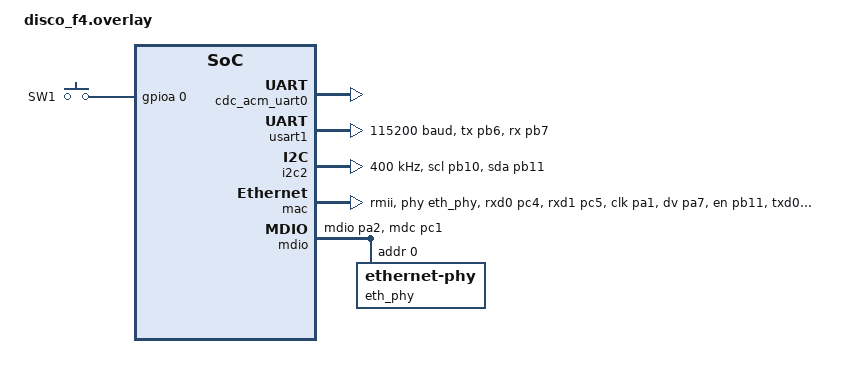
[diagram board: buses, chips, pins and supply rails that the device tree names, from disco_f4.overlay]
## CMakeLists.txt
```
# SPDX-License-Identifier: Apache-2.0

cmake_minimum_required(VERSION 3.20.0)

find_package(Zephyr REQUIRED HINTS $ENV{ZEPHYR_BASE})
find_package(Python REQUIRED COMPONENTS Interpreter)

project(http_server)

option(INCLUDE_HTML_CONTENT "Include the HTML content" ON)

target_sources(app PRIVATE src/main.c)

set(gen_dir ${ZEPHYR_BINARY_DIR}/include/generated/)

target_sources_ifdef(CONFIG_NET_SAMPLE_WEBSOCKET_SERVICE app PRIVATE src/ws.c)

if(CONFIG_USB_DEVICE_STACK_NEXT)
  include(${ZEPHYR_BASE}/samples/subsys/usb/common/common.cmake)
endif()

target_link_libraries(app PRIVATE zephyr_interface zephyr)

zephyr_linker_sources(SECTIONS sections-rom.ld)

foreach(web_resource
  index.html
  main.js
)
  generate_inc_file_for_target(app
    src/static_web_resources/${web_resource}
    ${gen_dir}/${web_resource}.gz.inc
    --gzip
  )
endforeach()
```

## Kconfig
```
# Config options for http2 server sample application

# Copyright (c) 2023, Emna Rekik
# SPDX-License-Identifier: Apache-2.0

mainmenu "HTTP2 server sample application"

config NET_SAMPLE_HTTP_SERVICE
	bool "Enable http service"
	default y

config NET_SAMPLE_HTTP_SERVER_SERVICE_PORT
	int "Port number for http service"
	default 80
	depends on NET_SAMPLE_HTTP_SERVICE

config NET_SAMPLE_WEBSOCKET_SERVICE
	bool "Enable websocket service"
	default y if HTTP_SERVER_WEBSOCKET

config NET_SAMPLE_NUM_WEBSOCKET_HANDLERS
	int "How many websocket connections to serve at the same time"
	depends on NET_SAMPLE_WEBSOCKET_SERVICE
	default 1
	help
	  Each websocket connection is served by a thread which needs
	  memory. Only increase the value here if really needed.

config NET_SAMPLE_WEBSOCKET_STATS_INTERVAL
	int "Interval in milliseconds to send network stats over websocket"
	depends on NET_SAMPLE_WEBSOCKET_SERVICE
	default 200
	help
	  This interval controls how often the net stats data shown on the web page
	  will be updated.

if USB_DEVICE_STACK_NEXT
# Source common USB sample options used to initialize new experimental USB
# device stack. The scope of these options is limited to USB samples in project
# tree, you cannot use them in your own application.
	source "samples/subsys/usb/common/Kconfig.sample_usbd"
endif

config APP_WIPE_STORAGE
	bool "Option to clear the flash area before mounting"
	default y
	help
	  Use this to force an existing file system to be created.

choice
	prompt "Storage backend type used by the application"
	default APP_LITTLEFS_STORAGE_FLASH
	help
	  Specify the type of storage backend.

config APP_LITTLEFS_STORAGE_FLASH
	bool "Use flash memory backend"

config APP_LITTLEFS_STORAGE_BLK_SDMMC
	bool "Use block device (e.g. SD MMC) backend"
endchoice

source "samples/net/common/Kconfig"
source "Kconfig.zephyr"
```

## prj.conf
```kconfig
#CONFIG_DEBUG=y

# -- enable this to have the module load at slot0
CONFIG_BOOTLOADER_MCUBOOT=y
# build an image with checksum only signature
#CONFIG_MCUBOOT_GENERATE_UNSIGNED_IMAGE=y
CONFIG_MCUBOOT_SIGNATURE_KEY_FILE="mykey.pem"
# General config
CONFIG_MAIN_STACK_SIZE=2048
CONFIG_SYSTEM_WORKQUEUE_STACK_SIZE=1024
CONFIG_SHELL=y
CONFIG_PRINTK=y
CONFIG_BOOT_BANNER=n
CONFIG_LOG=y 
CONFIG_ENTROPY_GENERATOR=n
CONFIG_TEST_RANDOM_GENERATOR=y
CONFIG_INIT_STACKS=y
CONFIG_ZVFS_OPEN_ADD_SIZE_NET_SAMPLE=24
CONFIG_POSIX_API=y
CONFIG_ZVFS_POLL_MAX=32
# Eventfd
CONFIG_EVENTFD=y

CONFIG_DISK_ACCESS=y
CONFIG_STREAM_FLASH=y
CONFIG_IMG_MANAGER=y
CONFIG_IMG_ERASE_PROGRESSIVELY=y

# Networking config
CONFIG_NETWORKING=y
CONFIG_NET_IPV4=y
CONFIG_NET_IPV6=n
CONFIG_NET_TCP=y
CONFIG_NET_SOCKETS=y
CONFIG_NET_CONNECTION_MANAGER=y
#CONFIG_NET_SHELL=y
CONFIG_NET_STATISTICS=y
CONFIG_NET_STATISTICS_USER_API=y
CONFIG_NET_LOG=n

# JSON
CONFIG_JSON_LIBRARY=y

# HTTP parser
CONFIG_HTTP_PARSER_URL=y
CONFIG_HTTP_PARSER=y
CONFIG_HTTP_SERVER=y
CONFIG_HTTP_SERVER_WEBSOCKET=y

# Network buffers
CONFIG_NET_PKT_RX_COUNT=8
CONFIG_NET_PKT_TX_COUNT=8
CONFIG_NET_BUF_RX_COUNT=32
CONFIG_NET_BUF_TX_COUNT=32
CONFIG_NET_CONTEXT_NET_PKT_POOL=y

# IP address options
CONFIG_NET_IF_UNICAST_IPV6_ADDR_COUNT=0
CONFIG_NET_IF_MCAST_IPV6_ADDR_COUNT=0
CONFIG_NET_MAX_CONTEXTS=8
CONFIG_NET_MAX_CONN=8

# Network address config
CONFIG_NET_CONFIG_SETTINGS=y
CONFIG_NET_CONFIG_NEED_IPV4=y
CONFIG_NET_CONFIG_NEED_IPV6=n
CONFIG_NET_CONFIG_MY_IPV4_ADDR="192.168.1.11"
CONFIG_NET_CONFIG_PEER_IPV4_ADDR="192.168.1.12"
CONFIG_NET_CONFIG_MY_IPV4_GW="192.168.1.13"

# Networking tweaks
# Required to handle large number of consecutive connections,
# e.g. when testing with ApacheBench.
CONFIG_NET_TCP_TIME_WAIT_DELAY=0

# Device drivers
CONFIG_GPIO=y
CONFIG_LED=y
#CONFIG_I2C=y
#CONFIG_I2C_SHELL=y
CONFIG_FLASH=y
###CONFIG_FLASH_SHELL=y
###CONFIG_FLASH_SHELL_TEST_COMMANDS=y


# Network debug config
CONFIG_NET_SOCKETS_LOG_LEVEL_DBG=n
CONFIG_NET_HTTP_LOG_LEVEL_DBG=n
CONFIG_NET_IPV6_LOG_LEVEL_DBG=n
CONFIG_NET_IPV6_ND_LOG_LEVEL_DBG=n

CONFIG_NET_L2_ETHERNET=y

###CONFIG_NET_DHCPV4=y
###CONFIG_ZVFS_EVENTFD_MAX=2

###CONFIG_USB_DEVICE_STACK_NEXT=y
###CONFIG_CDC_ACM_SERIAL_INITIALIZE_AT_BOOT=y
#CONFIG_CDC_ACM_SERIAL_INITIALIZE_AT_BOOT=n
###CONFIG_USBD_LOG_LEVEL_WRN=y
###CONFIG_UDC_DRIVER_LOG_LEVEL_WRN=y

###CONFIG_FILE_SYSTEM=y
###CONFIG_FILE_SYSTEM_SHELL=y
###CONFIG_FILE_SYSTEM_LITTLEFS=y
CONFIG_FLASH_MAP=y

###CONFIG_MPU_ALLOW_FLASH_WRITE=y

#CONFIG_PM_EXTERNAL_FLASH_MCUBOOT_SECONDARY=n

#CONFIG_SETTINGS=y
#CONFIG_SETTINGS_FILE=y
#CONFIG_SETTINGS_FS=y
#CONFIG_SETTINGS_FS_DIR="/Ifs/settings"
#CONFIG_SETTINGS_FS_FILE="/Ifs/settings/run"
#CONFIG_SETTINGS_SAVE_SINGLE_SUBTREE_WITHOUT_MODIFICATION=y

#CONFIG_SETTINGS_FILE_PATH="/lfs1"

###CONFIG_FS_LITTLEFS_FC_HEAP_SIZE=2048

###CONFIG_FS_LITTLEFS_BLK_DEV=y
#CONFIG_FS_LITTLEFS_FMP_DEV=n

###CONFIG_NOCACHE_MEMORY=y
CONFIG_DISK_ACCESS=y
###CONFIG_DISK_DRIVERS=y
#CONFIG_SETTINGS_RUNTIME=y
# CONFIG_NVS=y
# CONFIG_SETTINGS_NVS=y
# CONFIG_HEAP_MEM_POOL_SIZE=256


#CONFIG_BOOT_BANNER=y

# Enable console and printk()
#CONFIG_PRINTK=y
#CONFIG_STDOUT_CONSOLE=y
```

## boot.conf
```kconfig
CONFIG_PM=n

CONFIG_MAIN_STACK_SIZE=10240
#CONFIG_MBEDTLS_CFG_FILE="mcuboot-mbedtls-cfg.h"

# MCUboot serial recovery
#CONFIG_MCUBOOT_SERIAL=y
#CONFIG_MCUBOOT_SERIAL_DIRECT_IMAGE_UPLOAD=y
##########CONFIG_BOOT_UPGRADE_ONLY=y
CONFIG_BOOT_SERIAL_DETECT_DELAY=450
# 177268-176924=344
# 177256-176924=332
##########CONFIG_STREAM_FLASH=y
#CONFIG_USB_DEVICE_STACK_NEXT=y
#CONFIG_CDC_ACM_SERIAL_INITIALIZE_AT_BOOT=y
CONFIG_DISK_ACCESS=y

##########CONFIG_STREAM_FLASH=y
##########CONFIG_IMG_MANAGER=y
##########CONFIG_IMG_ERASE_PROGRESSIVELY=y

CONFIG_FLASH=y
# CONFIG_FLASH_MAP=y
# CONFIG_FLASH_PAGE_LAYOUT=y

# CONFIG_SHELL=y
# CONFIG_SETTINGS=y
# CONFIG_SHELL_MINIMAL=n
# CONFIG_SETTINGS_SHELL=y
# CONFIG_IMG_MANAGER=y
# CONFIG_MCUBOOT_SHELL=y
# CONFIG_MCUBOOT_IMG_MANAGER=y

#CONFIG_LOG_DEFAULT_LEVEL=4
CONFIG_LOG=y
CONFIG_MCUBOOT_LOG_LEVEL_DBG=y
#CONFIG_MCUBOOT_UTIL_LOG_LEVEL_DBG=y
CONFIG_LOG_MODE_MINIMAL=n
CONFIG_CONSOLE=y
CONFIG_CONSOLE_HANDLER=y
CONFIG_UART_CONSOLE=y

#########3CONFIG_MCUMGR_GRP_OS=y
#########3CONFIG_MCUMGR_GRP_OS_ECHO=y
# CONFIG_MCUMGR_GRP_OS_RESET_MS=y
#########3CONFIG_MCUMGR_GRP_SHELL=y
#########3CONFIG_MCUMGR_GRP_OS_TASKSTAT=y
#########3CONFIG_THREAD_MONITOR=y
#########3CONFIG_MCUMGR_GRP_FS=y
#########3CONFIG_FILE_SYSTEM=y
#########3CONFIG_FILE_SYSTEM_LITTLEFS=y
#########3CONFIG_MCUMGR_GRP_IMG_VERBOSE_ERR=y

# Enable the Shell mcumgr transport.
# CONFIG_BASE64=y
# CONFIG_CRC=y
# CONFIG_SHELL_BACKEND_SERIAL=y
# CONFIG_MCUMGR_TRANSPORT_SHELL=y
CONFIG_LOG_MODE_IMMEDIATE=n
# CONFIG_MCUMGR=y
# CONFIG_ZCBOR=y

CONFIG_BOOT_VALIDATE_SLOT0=y

#CONFIG_BOOT_IMAGE_ACCESS_HOOKS=y

CONFIG_BOOT_MAX_IMG_SECTORS_AUTO=n
CONFIG_BOOT_MAX_IMG_SECTORS=8

# Multithreading
CONFIG_MULTITHREADING=y

#CONFIG_BOOT_SIGNATURE_TYPE_NONE=y
CONFIG_BOOT_SIGNATURE_TYPE_RSA=y
CONFIG_BOOT_SIGNATURE_KEY_FILE="C:/Projects/gitZephyr/zephyrTemplateF4/mykey.pem"
#CONFIG_MCUBOOT_ENCRYPTION_KEY_FILE="root-rsa-2048.pem"
#CONFIG_MCUBOOT_ENCRYPTION_KEY_FILE="enc-rsa2048-pub.pem"

CONFIG_SIZE_OPTIMIZATIONS=y

# if no application go into serial load
CONFIG_BOOT_SERIAL_NO_APPLICATION=y
# allow go into serial using switch mcuboot_button0
CONFIG_BOOT_SERIAL_ENTRANCE_GPIO=y
CONFIG_MCUBOOT_INDICATION_LED=y
# increase these two from default for use of higher MTU
# enable mtu of 1024 for 8x speedup from default 127 MTU
CONFIG_BOOT_SERIAL_MAX_RECEIVE_SIZE=2048
CONFIG_BOOT_MAX_LINE_INPUT_LEN=2048

CONFIG_BOOT_SWAP_USING_SCRATCH=n
CONFIG_BOOT_SWAP_USING_MOVE=y 
```

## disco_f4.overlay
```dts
/ {
	chosen {
        zephyr,console = &usart1;
		zephyr,shell-uart = &usart1;
		//zephyr,console = &cdc_acm_uart0;
		//zephyr,shell-uart = &cdc_acm_uart0;
		zephyr,code-partition = &slot0_partition;
    };
	aliases {
		mcuboot-button0 = &button0;
	};
	// fstab {
	// 	compatible = "zephyr,fstab";
	// 	lfs1: lfs1 {
	// 		compatible = "zephyr,fstab,littlefs";
	// 		read-size = <1>;
	// 		prog-size = <16>;
	// 		cache-size = <256>;
	// 		lookahead-size = <32>;
	// 		block-cycles = <512>;
	// 		partition = <&lfs1_partition>;
	// 		mount-point = "/lfs1";
	// 	};
	// };
	gpio_keys {
		compatible = "gpio-keys";
			button0: button0 {
			label = "SW1";
			gpios = <&gpioa 0 GPIO_ACTIVE_HIGH>; // uart2rx
			zephyr,code = <INPUT_KEY_0>;
		};
	};
	// cdc_ncm_eth0: cdc_ncm_eth0 {
	// 	compatible = "zephyr,cdc-ncm-ethernet";
	// 	remote-mac-address = "00005E005301";
	// };
};

&flash0 {
	partitions {
		compatible = "fixed-partitions";
		#address-cells = <1>;
		#size-cells = <1>;

		// the bootstrapper goes here
		// boot_partition labeled mcuboot at 0 with size 32K
		boot_partition: partition@0 {
			label = "mcuboot";
			reg = <0x00000000 DT_SIZE_K(64)>;
		};
		// the app image goes here
		slot0_partition: partition@20000 {
			label = "image-0";
			reg = <0x00020000 DT_SIZE_K(256)>;
		};
		slot1_partition: partition@60000 {
			label = "image-1";
			reg = <0x00060000 DT_SIZE_K(256)>;
		};
		/* Use last half of flash for the filesystem. */
		lfs1_partition: partition@E0000 {
			label = "storage";
			reg = <0xE0000 DT_SIZE_K(128)>;
		};
		// we don't have room for a slot1 with this app
		// Reserve 16kB of storage at the end of the 256kB
		// storage_partition: partition@3c000 {
		// 	label = "storage";
		// 	reg = <0x0003c000 DT_SIZE_K(16)>;
		// };
	};
};


&zephyr_udc0 {
    cdc_acm_uart0: cdc_acm_uart0 {
        compatible = "zephyr,cdc-acm-uart";
    };
};

&usart1 {
	pinctrl-0 = <&usart1_tx_pb6 &usart1_rx_pb7>;
	pinctrl-names = "default";
	current-speed = <115200>;
	status = "okay";
};

&i2c2 {
	clock-frequency = <I2C_BITRATE_FAST>;
	pinctrl-0 = <&i2c2_scl_pb10 &i2c2_sda_pb11>;
	pinctrl-names = "default";
	status = "okay";
};

&mac {
	status = "okay";
	pinctrl-0 = <&eth_rxd0_pc4
		     &eth_rxd1_pc5
		     &eth_ref_clk_pa1
		     &eth_crs_dv_pa7
		     &eth_tx_en_pb11
		     &eth_txd0_pb12
		     &eth_txd1_pb13>;
	pinctrl-names = "default";
	phy-connection-type = "rmii";
	phy-handle = <&eth_phy>;
};

&mdio {
	status = "okay";
	pinctrl-0 = <&eth_mdio_pa2 &eth_mdc_pc1>;
	pinctrl-names = "default";

	eth_phy: ethernet-phy@0 {
		compatible = "ethernet-phy";
		reg = <0x00>;
	};
};
```

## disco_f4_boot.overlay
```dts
/ {
	chosen {
        zephyr,console = &usart1;
		zephyr,shell-uart = &usart1;
		//zephyr,console = &cdc_acm_uart0;
		//zephyr,shell-uart = &cdc_acm_uart0;
		zephyr,code-partition = &boot_partition;
    };
	aliases {
		mcuboot-button0 = &button0;
		mcuboot-led0 = &led0;
	};

	gpio_keys {
		compatible = "gpio-keys";
		button0: button0 {
			label = "SW1";
			gpios = <&gpioa 0 GPIO_ACTIVE_HIGH>; // uart2rx
			zephyr,code = <INPUT_KEY_0>;
		};
	};

	leds {
		compatible = "gpio-leds";

		led0: led0 {
			gpios = <&gpiod 13 GPIO_ACTIVE_HIGH>;
			label = "Boot LED";
		};
	};

	// cdc_ncm_eth0: cdc_ncm_eth0 {
	// 	compatible = "zephyr,cdc-ncm-ethernet";
	// 	remote-mac-address = "00005E005301";
	// };
};

&flash0 {
	partitions {
		compatible = "fixed-partitions";
		#address-cells = <1>;
		#size-cells = <1>;

		// the bootstrapper goes here
		// boot_partition labeled mcuboot at 0 with size 32K
		boot_partition: partition@0 {
			label = "mcuboot";
			reg = <0x00000000 DT_SIZE_K(64)>;
		};
		// the app image goes here
		slot0_partition: partition@20000 {
			label = "image-0";
			reg = <0x00020000 DT_SIZE_K(256)>;
		};
		slot1_partition: partition@60000 {
			label = "image-1";
			reg = <0x00060000 DT_SIZE_K(256)>;
		};
		/* Use last half of flash for the filesystem. */
		lfs1_partition: partition@E0000 {
			label = "storage";
			reg = <0xE0000 DT_SIZE_K(128)>;
		};
		// we don't have room for a slot1 with this app
		// Reserve 16kB of storage at the end of the 256kB
		// storage_partition: partition@3c000 {
		// 	label = "storage";
		// 	reg = <0x0003c000 DT_SIZE_K(16)>;
		// };
	};
};


&zephyr_udc0 {
    cdc_acm_uart0: cdc_acm_uart0 {
        compatible = "zephyr,cdc-acm-uart";
    };
};

&usart1 {
	pinctrl-0 = <&usart1_tx_pb6 &usart1_rx_pb7>;
	pinctrl-names = "default";
	current-speed = <115200>;
	status = "okay";
};
```

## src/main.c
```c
/*
 * Copyright (c) 2023, Emna Rekik
 * Copyright (c) 2024, Nordic Semiconductor
 *
 * SPDX-License-Identifier: Apache-2.0
 */

#include <stdio.h>
#include <inttypes.h>

#include <zephyr/kernel.h>
#include <zephyr/net/http/server.h>
#include <zephyr/net/http/service.h>
#include <zephyr/net/net_ip.h>
#include <zephyr/net/socket.h>
#include "zephyr/device.h"
#include "zephyr/sys/util.h"
#include <zephyr/drivers/led.h>
#include <zephyr/data/json.h>
#include <zephyr/sys/util_macro.h>
#include <zephyr/net/net_config.h>
// #include <zephyr/fs/fs.h>
// #include <zephyr/fs/littlefs.h>
#include <zephyr/logging/log.h>
#include <zephyr/storage/flash_map.h>
#include <zephyr/settings/settings.h>

#if CONFIG_USB_DEVICE_STACK_NEXT
#include <sample_usbd.h>
#endif

#include "ws.h"

#include <zephyr/logging/log.h>
LOG_MODULE_REGISTER(net_http_server_sample, LOG_LEVEL_DBG);

struct led_command {
	int led_num;
	bool led_state;
};

static const struct json_obj_descr led_command_descr[] = {
	JSON_OBJ_DESCR_PRIM(struct led_command, led_num, JSON_TOK_NUMBER),
	JSON_OBJ_DESCR_PRIM(struct led_command, led_state, JSON_TOK_TRUE),
};

static const struct device *leds_dev = DEVICE_DT_GET_ANY(gpio_leds);

static uint8_t index_html_gz[] = {
#include "index.html.gz.inc"
};

static uint8_t main_js_gz[] = {
#include "main.js.gz.inc"
};

static struct http_resource_detail_static index_html_gz_resource_detail = {
	.common = {
			.type = HTTP_RESOURCE_TYPE_STATIC,
			.bitmask_of_supported_http_methods = BIT(HTTP_GET),
			.content_encoding = "gzip",
			.content_type = "text/html",
		},
	.static_data = index_html_gz,
	.static_data_len = sizeof(index_html_gz),
};

static struct http_resource_detail_static main_js_gz_resource_detail = {
	.common = {
			.type = HTTP_RESOURCE_TYPE_STATIC,
			.bitmask_of_supported_http_methods = BIT(HTTP_GET),
			.content_encoding = "gzip",
			.content_type = "text/javascript",
		},
	.static_data = main_js_gz,
	.static_data_len = sizeof(main_js_gz),
};

static int echo_handler(struct http_client_ctx *client, enum http_data_status status,
			const struct http_request_ctx *request_ctx,
			struct http_response_ctx *response_ctx, void *user_data)
{
#define MAX_TEMP_PRINT_LEN 32
	static char print_str[MAX_TEMP_PRINT_LEN];
	enum http_method method = client->method;
	static size_t processed;

	if (status == HTTP_SERVER_DATA_ABORTED) {
		LOG_DBG("Transaction aborted after %zd bytes.", processed);
		processed = 0;
		return 0;
	}

	__ASSERT_NO_MSG(buffer != NULL);

	processed += request_ctx->data_len;

	snprintf(print_str, sizeof(print_str), "%s received (%zd bytes)", http_method_str(method),
		 request_ctx->data_len);
	LOG_HEXDUMP_DBG(request_ctx->data, request_ctx->data_len, print_str);

	if (status == HTTP_SERVER_DATA_FINAL) {
		LOG_DBG("All data received (%zd bytes).", processed);
		processed = 0;
	}

	/* Echo data back to client */
	response_ctx->body = request_ctx->data;
	response_ctx->body_len = request_ctx->data_len;
	response_ctx->final_chunk = (status == HTTP_SERVER_DATA_FINAL);

	return 0;
}

static struct http_resource_detail_dynamic echo_resource_detail = {
	.common = {
			.type = HTTP_RESOURCE_TYPE_DYNAMIC,
			.bitmask_of_supported_http_methods = BIT(HTTP_GET) | BIT(HTTP_POST),
		},
	.cb = echo_handler,
	.user_data = NULL,
};

static int uptime_handler(struct http_client_ctx *client, enum http_data_status status,
			  const struct http_request_ctx *request_ctx,
			  struct http_response_ctx *response_ctx, void *user_data)
{
	int ret;
	static uint8_t uptime_buf[sizeof(STRINGIFY(INT64_MAX))];

	LOG_DBG("Uptime handler status %d", status);

	/* A payload is not expected with the GET request. Ignore any data and wait until
	 * final callback before sending response
	 */
	if (status == HTTP_SERVER_DATA_FINAL) {
		ret = snprintf(uptime_buf, sizeof(uptime_buf), "%" PRId64, k_uptime_get());
		if (ret < 0) {
			LOG_ERR("Failed to snprintf uptime, err %d", ret);
			return ret;
		}

		response_ctx->body = uptime_buf;
		response_ctx->body_len = ret;
		response_ctx->final_chunk = true;
	}

	return 0;
}

static struct http_resource_detail_dynamic uptime_resource_detail = {
	.common = {
			.type = HTTP_RESOURCE_TYPE_DYNAMIC,
			.bitmask_of_supported_http_methods = BIT(HTTP_GET),
		},
	.cb = uptime_handler,
	.user_data = NULL,
};

static void parse_led_post(uint8_t *buf, size_t len)
{
	int ret;
	struct led_command cmd;
	const int expected_return_code = BIT_MASK(ARRAY_SIZE(led_command_descr));

	ret = json_obj_parse(buf, len, led_command_descr, ARRAY_SIZE(led_command_descr), &cmd);
	if (ret != expected_return_code) {
		LOG_WRN("Failed to fully parse JSON payload, ret=%d", ret);
		return;
	}

	LOG_INF("POST request setting LED %d to state %d", cmd.led_num, cmd.led_state);

	if (leds_dev != NULL) {
		if (cmd.led_state) {
			//boot_request_upgrade(0);
			led_on(leds_dev, cmd.led_num);
		} else {
			led_off(leds_dev, cmd.led_num);
		}
	}
}

static int led_handler(struct http_client_ctx *client, enum http_data_status status,
		       const struct http_request_ctx *request_ctx,
		       struct http_response_ctx *response_ctx, void *user_data)
{
	static uint8_t post_payload_buf[32];
	static size_t cursor;

	LOG_DBG("LED handler status %d, size %zu", status, request_ctx->data_len);

	if (status == HTTP_SERVER_DATA_ABORTED) {
		cursor = 0;
		return 0;
	}

	if (request_ctx->data_len + cursor > sizeof(post_payload_buf)) {
		cursor = 0;
		return -ENOMEM;
	}

	/* Copy payload to our buffer. Note that even for a small payload, it may arrive split into
	 * chunks (e.g. if the header size was such that the whole HTTP request exceeds the size of
	 * the client buffer).
	 */
	memcpy(post_payload_buf + cursor, request_ctx->data, request_ctx->data_len);
	cursor += request_ctx->data_len;

	if (status == HTTP_SERVER_DATA_FINAL) {
		parse_led_post(post_payload_buf, cursor);
		cursor = 0;
	}

	return 0;
}

static struct http_resource_detail_dynamic led_resource_detail = {
	.common = {
			.type = HTTP_RESOURCE_TYPE_DYNAMIC,
			.bitmask_of_supported_http_methods = BIT(HTTP_POST),
		},
	.cb = led_handler,
	.user_data = NULL,
};

#if defined(CONFIG_NET_SAMPLE_WEBSOCKET_SERVICE)
static uint8_t ws_echo_buffer[1024];

struct http_resource_detail_websocket ws_echo_resource_detail = {
	.common = {
			.type = HTTP_RESOURCE_TYPE_WEBSOCKET,

			/* We need HTTP/1.1 Get method for upgrading */
			.bitmask_of_supported_http_methods = BIT(HTTP_GET),
		},
	.cb = ws_echo_setup,
	.data_buffer = ws_echo_buffer,
	.data_buffer_len = sizeof(ws_echo_buffer),
	.user_data = NULL, /* Fill this for any user specific data */
};

static uint8_t ws_netstats_buffer[128];

struct http_resource_detail_websocket ws_netstats_resource_detail = {
	.common = {
			.type = HTTP_RESOURCE_TYPE_WEBSOCKET,
			.bitmask_of_supported_http_methods = BIT(HTTP_GET),
		},
	.cb = ws_netstats_setup,
	.data_buffer = ws_netstats_buffer,
	.data_buffer_len = sizeof(ws_netstats_buffer),
	.user_data = NULL,
};

#endif /* CONFIG_NET_SAMPLE_WEBSOCKET_SERVICE */

#if defined(CONFIG_NET_SAMPLE_HTTP_SERVICE)
static uint16_t test_http_service_port = CONFIG_NET_SAMPLE_HTTP_SERVER_SERVICE_PORT;
HTTP_SERVICE_DEFINE(test_http_service, NULL, &test_http_service_port,
		    CONFIG_HTTP_SERVER_MAX_CLIENTS, 10, NULL, NULL, NULL);

HTTP_RESOURCE_DEFINE(index_html_gz_resource, test_http_service, "/",
		     &index_html_gz_resource_detail);

HTTP_RESOURCE_DEFINE(main_js_gz_resource, test_http_service, "/main.js",
		     &main_js_gz_resource_detail);

HTTP_RESOURCE_DEFINE(echo_resource, test_http_service, "/dynamic", &echo_resource_detail);

HTTP_RESOURCE_DEFINE(uptime_resource, test_http_service, "/uptime", &uptime_resource_detail);

HTTP_RESOURCE_DEFINE(led_resource, test_http_service, "/led", &led_resource_detail);

#if defined(CONFIG_NET_SAMPLE_WEBSOCKET_SERVICE)
HTTP_RESOURCE_DEFINE(ws_echo_resource, test_http_service, "/ws_echo", &ws_echo_resource_detail);

HTTP_RESOURCE_DEFINE(ws_netstats_resource, test_http_service, "/", &ws_netstats_resource_detail);
#endif /* CONFIG_NET_SAMPLE_WEBSOCKET_SERVICE */
#endif /* CONFIG_NET_SAMPLE_HTTP_SERVICE */

static int init_usb(void)
{
#if defined(CONFIG_USB_DEVICE_STACK_NEXT)
	struct usbd_context *sample_usbd;
	int err;

	sample_usbd = sample_usbd_init_device(NULL);
	if (sample_usbd == NULL) {
		return -ENODEV;
	}

	err = usbd_enable(sample_usbd);
	if (err) {
		return err;
	}

	(void)net_config_init_app(NULL, "Initializing network");
#endif /* CONFIG_USB_DEVICE_STACK_NEXT */

	return 0;
}


// #ifdef CONFIG_APP_LITTLEFS_STORAGE_FLASH
// static int littlefs_flash_erase(unsigned int id)
// {
// 	const struct flash_area *pfa;
// 	int rc;

// 	rc = flash_area_open(id, &pfa);
// 	if (rc < 0) {
// 		LOG_ERR("FAIL: unable to find flash area %u: %d\n",
// 			id, rc);
// 		return rc;
// 	}

// 	LOG_PRINTK("Area %u at 0x%x on %s for %u bytes\n",
// 		   id, (unsigned int)pfa->fa_off, pfa->fa_dev->name,
// 		   (unsigned int)pfa->fa_size);

// 	/* Optional wipe flash contents */
// 	if (IS_ENABLED(CONFIG_APP_WIPE_STORAGE)) {
// 		rc = flash_area_flatten(pfa, 0, pfa->fa_size);
// 		LOG_ERR("Erasing flash area ... %d", rc);
// 	}

// 	flash_area_close(pfa);
// 	return rc;
// }
// #define PARTITION_NODE DT_NODELABEL(lfs1)

// #if DT_NODE_EXISTS(PARTITION_NODE)
// FS_FSTAB_DECLARE_ENTRY(PARTITION_NODE);
// #else /* PARTITION_NODE */
// FS_LITTLEFS_DECLARE_DEFAULT_CONFIG(storage);
// static struct fs_mount_t lfs_storage_mnt = {
// 	.type = FS_LITTLEFS,
// 	.fs_data = &storage,
// 	.storage_dev = (void *)FIXED_PARTITION_ID(storage_partition),
// 	.mnt_point = "/lfs",
// };
// #endif /* PARTITION_NODE */

// 	struct fs_mount_t *mountpoint =
// #if DT_NODE_EXISTS(PARTITION_NODE)
// 		&FS_FSTAB_ENTRY(PARTITION_NODE)
// #else
// 		&lfs_storage_mnt
// #endif
// ;

// static int littlefs_mount(struct fs_mount_t *mp)
// {
// 	int rc;

// 	rc = littlefs_flash_erase((uintptr_t)mp->storage_dev);
// 	if (rc < 0) {
// 		return rc;
// 	}

// 	/* Do not mount if auto-mount has been enabled */
// #if !DT_NODE_EXISTS(PARTITION_NODE) ||						\
// 	!(FSTAB_ENTRY_DT_MOUNT_FLAGS(PARTITION_NODE) & FS_MOUNT_FLAG_AUTOMOUNT)
// 	rc = fs_mount(mp);
// 	if (rc < 0) {
// 		LOG_PRINTK("FAIL: mount id %" PRIuPTR " at %s: %d\n",
// 		       (uintptr_t)mp->storage_dev, mp->mnt_point, rc);
// 		return rc;
// 	}
// 	LOG_PRINTK("%s mount: %d\n", mp->mnt_point, rc);
// #else
// 	LOG_PRINTK("%s automounted\n", mp->mnt_point);
// #endif

// 	return 0;
// }
// #endif /* CONFIG_APP_LITTLEFS_STORAGE_FLASH */


int main(void)
{
	int rc;
	LOG_DBG("STARTING");
	boot_request_upgrade(0);
	LOG_PRINTK("!!Sample program to r/w files on littlefs!!\n");
//	init_usb();
	// rc = littlefs_mount(mountpoint);
	// if (rc < 0) {
	// 	return 0;
	// }

	// void *storage;

	// struct fs_dirent entry;
    // LOG_DBG("STARTING");
	// rc = settings_storage_get(&storage);
	// if (rc) LOG_PRINTK("Can't fetch storage reference (err=%d)", rc);

	// LOG_PRINTK("Null reference.");

	// rc = fs_stat((const char *)storage, &entry);

	// if (rc) LOG_PRINTK("Can't find the file (err=%d)", rc);
// settings_subsys_init();
//boot_request_upgrade(false);
	http_server_start();
	return 0;
}
```

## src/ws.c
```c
/*
 * Copyright (c) 2024, Nordic Semiconductor
 *
 * SPDX-License-Identifier: Apache-2.0
 */

#include <stdio.h>

#include <zephyr/posix/sys/socket.h>
#include <zephyr/posix/poll.h>

#include <zephyr/kernel.h>
#include <zephyr/net/http/server.h>
#include <zephyr/net/http/service.h>
#include <zephyr/net/net_ip.h>
#include <zephyr/net/socket.h>
#include <zephyr/net/websocket.h>
#include <zephyr/net/net_mgmt.h>
#include <zephyr/net/net_stats.h>
#include <zephyr/init.h>

#include <zephyr/logging/log.h>
LOG_MODULE_DECLARE(net_http_server_sample, LOG_LEVEL_DBG);

#define STACK_SIZE 2048

#if defined(CONFIG_NET_TC_THREAD_COOPERATIVE)
#define THREAD_PRIORITY K_PRIO_COOP(CONFIG_NUM_COOP_PRIORITIES - 1)
#else
#define THREAD_PRIORITY K_PRIO_PREEMPT(8)
#endif

#if defined(CONFIG_USERSPACE)
#include <zephyr/app_memory/app_memdomain.h>
extern struct k_mem_partition app_partition;
extern struct k_mem_domain app_domain;
#define APP_BMEM K_APP_BMEM(app_partition)
#define APP_DMEM K_APP_DMEM(app_partition)
#else
#define APP_BMEM
#define APP_DMEM
#endif

#define MAX_CLIENT_QUEUE CONFIG_NET_SAMPLE_NUM_WEBSOCKET_HANDLERS
#define RECV_BUFFER_SIZE 1280

struct ws_netstats_ctx {
	int sock;
	struct k_work_delayable work;
};

K_THREAD_STACK_ARRAY_DEFINE(ws_handler_stack,
			    CONFIG_NET_SAMPLE_NUM_WEBSOCKET_HANDLERS,
			    STACK_SIZE);
static struct k_thread ws_handler_thread[CONFIG_NET_SAMPLE_NUM_WEBSOCKET_HANDLERS];
static APP_BMEM bool ws_handler_in_use[CONFIG_NET_SAMPLE_NUM_WEBSOCKET_HANDLERS];

static struct ws_netstats_ctx netstats_ctx[CONFIG_NET_SAMPLE_NUM_WEBSOCKET_HANDLERS];

static struct data {
	int sock;
	uint32_t counter;
	uint32_t bytes_received;
	struct pollfd fds[1];
	char recv_buffer[RECV_BUFFER_SIZE];
} config[CONFIG_NET_SAMPLE_NUM_WEBSOCKET_HANDLERS] = {
	[0 ... (CONFIG_NET_SAMPLE_NUM_WEBSOCKET_HANDLERS - 1)] = {
		.sock = -1,
		.fds[0].fd = -1,
	}
};

static int get_free_echo_slot(struct data *cfg)
{
	for (int i = 0; i < CONFIG_NET_SAMPLE_NUM_WEBSOCKET_HANDLERS; i++) {
		if (cfg[i].sock < 0) {
			return i;
		}
	}

	return -1;
}

static int get_free_netstats_slot(void)
{
	for (int i = 0; i < CONFIG_NET_SAMPLE_NUM_WEBSOCKET_HANDLERS; i++) {
		if (netstats_ctx[i].sock < 0) {
			return i;
		}
	}

	return -1;
}

static ssize_t sendall(int sock, const void *buf, size_t len)
{
	while (len) {
		ssize_t out_len = send(sock, buf, len, 0);

		if (out_len < 0) {
			return out_len;
		}
		buf = (const char *)buf + out_len;
		len -= out_len;
	}

	return 0;
}

static void ws_echo_handler(void *ptr1, void *ptr2, void *ptr3)
{
	int slot = POINTER_TO_INT(ptr1);
	struct data *cfg = ptr2;
	bool *in_use = ptr3;
	int offset = 0;
	int received;
	int client;
	int ret;

	client = cfg->sock;

	cfg->fds[0].fd = client;
	cfg->fds[0].events = POLLIN;

	/* In this example, we start to receive data from the websocket
	 * and send it back to the client. Note that we could either use
	 * the BSD socket interface if we do not care about Websocket
	 * specific packets, or we could use the websocket_{send/recv}_msg()
	 * function to send websocket specific data.
	 */
	while (true) {
		if (poll(cfg->fds, 1, -1) < 0) {
			LOG_ERR("Error in poll:%d", errno);
			continue;
		}

		if (cfg->fds[0].fd < 0) {
			continue;
		}

		if (cfg->fds[0].revents & ZSOCK_POLLHUP) {
			LOG_DBG("Client #%d has disconnected", client);
			break;
		}

		received = recv(client,
				cfg->recv_buffer + offset,
				sizeof(cfg->recv_buffer) - offset,
				0);

		if (received == 0) {
			/* Connection closed */
			LOG_INF("[%d] Connection closed", slot);
			break;
		} else if (received < 0) {
			/* Socket error */
			LOG_ERR("[%d] Connection error %d", slot, errno);
			break;
		}

		cfg->bytes_received += received;
		offset += received;

		/* To prevent fragmentation of the response, reply only if
		 * buffer is full or there is no more data to read
		 */
		if (offset == sizeof(cfg->recv_buffer) ||
		    (recv(client, cfg->recv_buffer + offset,
			  sizeof(cfg->recv_buffer) - offset,
			  MSG_PEEK | MSG_DONTWAIT) < 0 &&
		     (errno == EAGAIN || errno == EWOULDBLOCK))) {

			ret = sendall(client, cfg->recv_buffer, offset);
			if (ret < 0) {
				LOG_ERR("[%d] Failed to send data, closing socket",
					slot);
				break;
			}

			LOG_DBG("[%d] Received and replied with %d bytes",
				slot, offset);

			if (++cfg->counter % 1000 == 0U) {
				LOG_INF("[%d] Sent %u packets", slot, cfg->counter);
			}

			offset = 0;
		}
	}

	*in_use = false;

	(void)websocket_unregister(client);

	cfg->sock = -1;
}

static int netstats_collect(char *buf, size_t maxlen)
{
	int ret;
	struct net_stats data;
	uint32_t bytes_recv = 0;
	uint32_t bytes_sent = 0;
	uint32_t ipv6_recv = 0;
	uint32_t ipv6_sent = 0;
	uint32_t ipv4_recv = 0;
	uint32_t ipv4_sent = 0;
	uint32_t tcp_recv = 0;
	uint32_t tcp_sent = 0;

	net_mgmt(NET_REQUEST_STATS_GET_ALL, NULL, &data, sizeof(data));

	const char *net_stats_json_template = "{"
					      "\"bytes_recv\":%u,"
					      "\"bytes_sent\":%u,"
					      "\"ipv6_pkt_recv\":%u,"
					      "\"ipv6_pkt_sent\":%u,"
					      "\"ipv4_pkt_recv\":%u,"
					      "\"ipv4_pkt_sent\":%u,"
					      "\"tcp_bytes_recv\":%u,"
					      "\"tcp_bytes_sent\":%u"
					      "}";

	bytes_recv = data.bytes.received;
	bytes_sent = data.bytes.sent;
#if defined(CONFIG_NET_STATISTICS_IPV6)
	ipv6_recv = data.ipv6.recv;
	ipv6_sent = data.ipv6.sent;
#endif
#if defined(CONFIG_NET_STATISTICS_IPV4)
	ipv4_recv = data.ipv4.recv;
	ipv4_sent = data.ipv4.sent;
#endif
#if defined(CONFIG_NET_STATISTICS_TCP)
	tcp_recv = data.tcp.bytes.received;
	tcp_sent = data.tcp.bytes.sent;
#endif

	ret = snprintf(buf, maxlen, net_stats_json_template, bytes_recv, bytes_sent, ipv6_recv,
		       ipv6_sent, ipv4_recv, ipv4_sent, tcp_recv, tcp_sent);
	if (ret >= maxlen) {
		LOG_ERR("Net stats do not fit in buffer");
		return -ENOSPC;
	}

	return ret;
}

#define WS_NETSTATS_STACK_SIZE 2048
K_THREAD_STACK_DEFINE(ws_netstats_stack, WS_NETSTATS_STACK_SIZE);
struct k_work_q ws_netstats_queue;

static void netstats_handler(struct k_work *work)
{
	int ret;
	static char tx_buf[256];
	struct k_work_delayable *dwork = k_work_delayable_from_work(work);
	struct ws_netstats_ctx *ctx = CONTAINER_OF(dwork, struct ws_netstats_ctx, work);

	ret = netstats_collect(tx_buf, sizeof(tx_buf));
	if (ret < 0) {
		LOG_ERR("Unable to collect network statistics, err %d", ret);
		goto unregister;
	}

	ret = websocket_send_msg(ctx->sock, tx_buf, ret, WEBSOCKET_OPCODE_DATA_TEXT, false, true,
				 SYS_FOREVER_MS);
	if (ret < 0) {
		LOG_INF("Couldn't send websocket msg (%d), closing connection", ret);
		goto unregister;
	}

	ret = k_work_reschedule_for_queue(&ws_netstats_queue, &ctx->work,
					  K_MSEC(CONFIG_NET_SAMPLE_WEBSOCKET_STATS_INTERVAL));
	if (ret < 0) {
		LOG_ERR("Failed to schedule netstats work, err %d", ret);
		goto unregister;
	}

	return;

unregister:
	(void)websocket_unregister(ctx->sock);
	ctx->sock = -1;
}

int ws_netstats_init(void)
{
	struct k_work_queue_config cfg = {.name = "ws_netstats_q"};

	k_work_queue_init(&ws_netstats_queue);
	k_work_queue_start(&ws_netstats_queue, ws_netstats_stack, WS_NETSTATS_STACK_SIZE, 0, &cfg);

	for (int i = 0; i < CONFIG_NET_SAMPLE_NUM_WEBSOCKET_HANDLERS; i++) {
		netstats_ctx[i].sock = -1;
		k_work_init_delayable(&netstats_ctx[i].work, netstats_handler);
	}

	return 0;
}
SYS_INIT(ws_netstats_init, APPLICATION, 0);

int ws_echo_setup(int ws_socket, struct http_request_ctx *request_ctx, void *user_data)
{
	int slot;

	slot = get_free_echo_slot(config);
	if (slot < 0) {
		LOG_ERR("Cannot accept more connections");
		/* The caller will close the connection in this case */
		return -ENOENT;
	}

	config[slot].sock = ws_socket;

	LOG_INF("[%d] Accepted a Websocket connection", slot);

	k_thread_create(&ws_handler_thread[slot],
			ws_handler_stack[slot],
			K_THREAD_STACK_SIZEOF(ws_handler_stack[slot]),
			ws_echo_handler,
			INT_TO_POINTER(slot), &config[slot], &ws_handler_in_use[slot],
			THREAD_PRIORITY,
			IS_ENABLED(CONFIG_USERSPACE) ? K_USER |
						       K_INHERIT_PERMS : 0,
			K_NO_WAIT);

	if (IS_ENABLED(CONFIG_THREAD_NAME)) {
#define MAX_NAME_LEN (sizeof("ws[xxxxxxxxxx]"))
		char name[MAX_NAME_LEN];

		snprintk(name, sizeof(name), "ws[%d]", slot);
		k_thread_name_set(&ws_handler_thread[slot], name);
	}

	return 0;
}

int ws_netstats_setup(int ws_socket, struct http_request_ctx *request_ctx, void *user_data)
{
	int ret;
	int slot;

	slot = get_free_netstats_slot();
	if (slot < 0) {
		LOG_ERR("Cannot accept more netstats websocket connections");
		return -ENOENT;
	}

	netstats_ctx[slot].sock = ws_socket;

	ret = k_work_reschedule_for_queue(&ws_netstats_queue, &netstats_ctx[slot].work, K_NO_WAIT);
	if (ret < 0) {
		LOG_ERR("Failed to schedule netstats work, err %d", ret);
		return ret;
	}

	LOG_INF("Accepted websocket connection for net stats");
	return 0;
}
```
